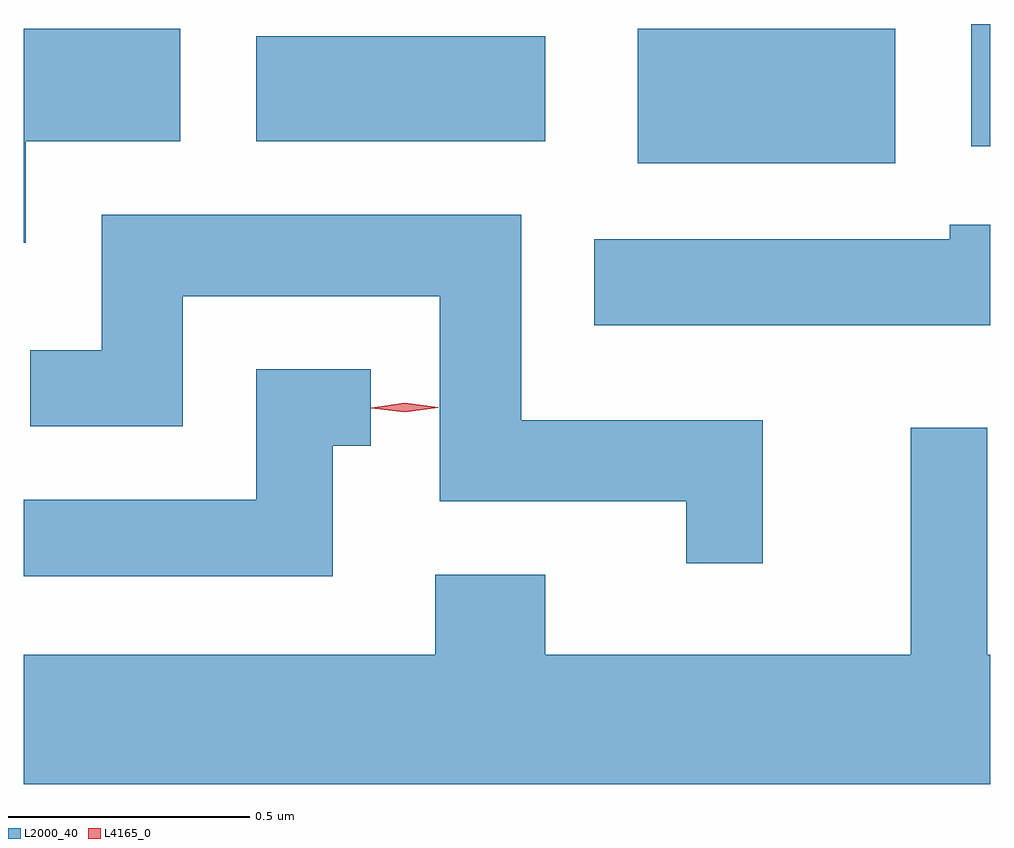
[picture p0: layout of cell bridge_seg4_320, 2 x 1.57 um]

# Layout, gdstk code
import gdstk
lib = gdstk.Library(unit=1e-6, precision=1e-09)
def R(c, l, rs):  # rectangles x0, y0, x1, y1
    for r in rs: c.add(gdstk.rectangle(r[:2], r[2:], *l))
def P(c, l, *ps):  # polygons
    for p in ps: c.add(gdstk.Polygon(p, *l))
L2000_40 = (2000, 40)
L4165_0 = (4165, 0)

bridge_seg4_320 = lib.new_cell('bridge_seg4_320')
R(bridge_seg4_320, L2000_40, [(538.371,1293.801,538.904,1294.079), (539.061,1293.836,539.1,1294.089), (537.581,1293.846,538.179,1294.064)])
P(bridge_seg4_320, L2000_40, [(537.104,1293.846),(537.424,1293.846),(537.424,1294.079),(537.1,1294.079),(537.1,1293.636),(537.104,1293.636)],
  [(538.629,1293.269),(538.129,1293.269),(538.129,1293.694),(537.261,1293.694),(537.261,1293.414),(537.113,1293.414),(537.113,1293.256),(537.429,1293.256),(537.429,1293.526),(537.961,1293.526),(537.961,1293.101),(538.471,1293.101),(538.471,1292.973),(538.629,1292.973)],
  [(539.1,1293.674),(539.016,1293.674),(539.016,1293.644),(538.281,1293.644),(538.281,1293.466),(539.1,1293.466)],
  [(537.739,1293.216),(537.818,1293.216),(537.818,1293.374),(537.581,1293.374),(537.581,1293.104),(537.1,1293.104),(537.1,1292.946),(537.739,1292.946)],
  [(539.1,1292.784),(539.094,1292.784),(539.094,1293.253),(538.936,1293.253),(538.936,1292.784),(538.179,1292.784),(538.179,1292.949),(537.951,1292.949),(537.951,1292.784),(537.1,1292.784),(537.1,1292.516),(539.1,1292.516)])
P(bridge_seg4_320, L4165_0, [(537.888,1293.285),(537.819,1293.294),(537.819,1293.295),(537.819,1293.295),(537.888,1293.305),(537.958,1293.296),(537.958,1293.296),(537.958,1293.295)])

lib.write_gds('bridge_seg4_320.gds')
